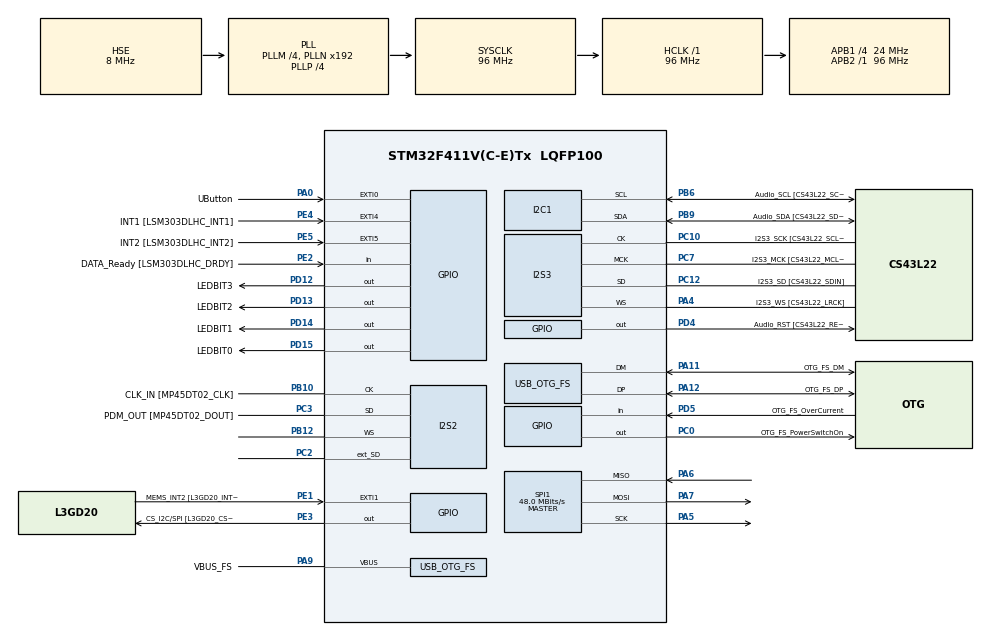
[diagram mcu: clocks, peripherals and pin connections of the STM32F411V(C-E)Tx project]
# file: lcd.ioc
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I2S2.AudioFreq=I2S_AUDIOFREQ_96K
I2S2.ErrorAudioFreq=0.15 %
I2S2.FullDuplexMode=I2S_FULLDUPLEXMODE_ENABLE
I2S2.Instance=SPI$Index
I2S2.RealAudioFreq=96.153 KHz
I2S2.VirtualMode=I2S_MODE_MASTER
I2S3.AudioFreq=I2S_AUDIOFREQ_96K
I2S3.ErrorAudioFreq=-6.99 %
I2S3.FullDuplexMode=I2S_FULLDUPLEXMODE_DISABLE
I2S3.Instance=SPI$Index
I2S3.RealAudioFreq=89.285 KHz
I2S3.VirtualMode=I2S_MODE_MASTER
Mcu.Family=STM32F4
Mcu.Name=STM32F411V(C-E)Tx
Mcu.Package=LQFP100
NVIC.EXTI0_IRQn=true\:0\:0\:false\:false\:true\:true\:true\:true
NVIC.OTG_FS_IRQn=true\:0\:0\:false\:false\:true\:true\:true\:true
NVIC.PriorityGroup=NVIC_PRIORITYGROUP_0
PA0-WKUP.GPIO_Label=UButton
PA0-WKUP.Signal=GPXTI0
PA10.GPIO_Label=OTG_FS_ID
PA10.Signal=USB_OTG_FS_ID
PA11.GPIO_Label=OTG_FS_DM
PA11.Mode=Host_Only
PA11.Signal=USB_OTG_FS_DM
PA12.GPIO_Label=OTG_FS_DP
PA12.Mode=Host_Only
PA12.Signal=USB_OTG_FS_DP
PA13.GPIO_Label=SWDIO
PA13.Mode=Serial_Wire
PA13.Signal=SYS_JTMS-SWDIO
PA14.GPIO_Label=SWCLK
PA14.Mode=Serial_Wire
PA14.Signal=SYS_JTCK-SWCLK
PA4.GPIO_Label=I2S3_WS [CS43L22_LRCK]
PA4.GPIO_Mode=GPIO_MODE_AF_PP
PA4.GPIO_PuPd=GPIO_NOPULL
PA4.GPIO_Speed=GPIO_SPEED_FREQ_LOW
PA4.Mode=Half_Duplex_Master
PA4.Signal=I2S3_WS
PA5.GPIO_Mode=GPIO_MODE_AF_PP
PA5.GPIO_PuPd=GPIO_NOPULL
PA5.GPIO_Speed=GPIO_SPEED_FREQ_VERY_HIGH
PA5.Mode=Full_Duplex_Master
PA5.Signal=SPI1_SCK
PA6.GPIO_Mode=GPIO_MODE_AF_PP
PA6.GPIO_PuPd=GPIO_NOPULL
PA6.GPIO_Speed=GPIO_SPEED_FREQ_VERY_HIGH
PA6.Mode=Full_Duplex_Master
PA6.Signal=SPI1_MISO
PA7.GPIO_Mode=GPIO_MODE_AF_PP
PA7.GPIO_PuPd=GPIO_NOPULL
PA7.GPIO_Speed=GPIO_SPEED_FREQ_VERY_HIGH
PA7.Mode=Full_Duplex_Master
PA7.Signal=SPI1_MOSI
PA9.GPIO_Label=VBUS_FS
PA9.Mode=Activate_VBUS
PA9.Signal=USB_OTG_FS_VBUS
PB10.GPIO_Label=CLK_IN [MP45DT02_CLK]
PB10.Mode=Full_Duplex_Master
PB10.Signal=I2S2_CK
PB12.Mode=Full_Duplex_Master
PB12.Signal=I2S2_WS
PB3.GPIO_Label=SWO
PB3.Signal=SYS_JTDO-SWO
PB6.GPIO_Label=Audio_SCL [CS43L22_SCL]
PB6.GPIO_Mode=GPIO_MODE_AF_OD
PB6.GPIO_Pu=GPIO_PULLUP
PB6.GPIO_PuPd=GPIO_NOPULL
PB6.GPIO_Speed=GPIO_SPEED_FREQ_LOW
PB6.Mode=I2C
PB6.Signal=I2C1_SCL
PB9.GPIO_Label=Audio_SDA [CS43L22_SDA]
PB9.GPIO_Mode=GPIO_MODE_AF_OD
PB9.GPIO_Pu=GPIO_PULLUP
PB9.GPIO_PuPd=GPIO_NOPULL
PB9.GPIO_Speed=GPIO_SPEED_FREQ_LOW
PB9.Mode=I2C
PB9.Signal=I2C1_SDA
PC0.GPIO_Label=OTG_FS_PowerSwitchOn
PC0.PinState=GPIO_PIN_SET
PC0.Signal=GPIO_Output
PC10.GPIO_Label=I2S3_SCK [CS43L22_SCLK]
PC10.GPIO_Mode=GPIO_MODE_AF_PP
PC10.GPIO_PuPd=GPIO_NOPULL
PC10.GPIO_Speed=GPIO_SPEED_FREQ_LOW
PC10.Mode=Half_Duplex_Master
PC10.Signal=I2S3_CK
PC12.GPIO_Label=I2S3_SD [CS43L22_SDIN]
PC12.GPIO_Mode=GPIO_MODE_AF_PP
PC12.GPIO_PuPd=GPIO_NOPULL
PC12.GPIO_Speed=GPIO_SPEED_FREQ_LOW
PC12.Mode=Half_Duplex_Master
PC12.Signal=I2S3_SD
PC14-OSC32_IN.GPIO_Label=PC14-OSC32_IN
PC14-OSC32_IN.Signal=RCC_OSC32_IN
PC15-OSC32_OUT.GPIO_Label=PC15-OSC32_OUT
PC15-OSC32_OUT.Signal=RCC_OSC32_OUT
PC2.Mode=Full_Duplex_Master
PC2.Signal=I2S2_ext_SD
PC3.GPIO_Label=PDM_OUT [MP45DT02_DOUT]
PC3.Mode=Full_Duplex_Master
PC3.Signal=I2S2_SD
PC7.GPIO_Label=I2S3_MCK [CS43L22_MCLK]
PC7.GPIO_Mode=GPIO_MODE_AF_PP
PC7.GPIO_PuPd=GPIO_NOPULL
PC7.GPIO_Speed=GPIO_SPEED_FREQ_LOW
PC7.Mode=Master_Clock_Activated
PC7.Signal=I2S3_MCK
PD12.GPIO_Label=LEDBIT3
PD12.GPIO_PuPd=GPIO_NOPULL
PD12.GPIO_Speed=GPIO_SPEED_FREQ_LOW
PD12.Signal=GPIO_Output
PD13.GPIO_Label=LEDBIT2
PD13.GPIO_PuPd=GPIO_NOPULL
PD13.GPIO_Speed=GPIO_SPEED_FREQ_LOW
PD13.Signal=GPIO_Output
PD14.GPIO_Label=LEDBIT1
PD14.GPIO_PuPd=GPIO_NOPULL
PD14.GPIO_Speed=GPIO_SPEED_FREQ_LOW
PD14.Signal=GPIO_Output
PD15.GPIO_Label=LEDBIT0
PD15.GPIO_PuPd=GPIO_NOPULL
PD15.GPIO_Speed=GPIO_SPEED_FREQ_LOW
PD15.Signal=GPIO_Output
PD4.GPIO_Label=Audio_RST [CS43L22_RESET]
PD4.Signal=GPIO_Output
PD5.GPIO_Label=OTG_FS_OverCurrent
PD5.Signal=GPIO_Input
PE1.GPIO_Label=MEMS_INT2 [L3GD20_INT2]
PE1.GPIO_ModeDefaultEXTI=GPIO_MODE_EVT_RISING
PE1.Signal=GPXTI1
PE2.GPIO_Label=DATA_Ready [LSM303DLHC_DRDY]
PE2.Signal=GPIO_Input
PE3.GPIO_Label=CS_I2C/SPI [L3GD20_CS_I2C/SPI]
PE3.Signal=GPIO_Output
PE4.GPIO_Label=INT1 [LSM303DLHC_INT1]
PE4.GPIO_ModeDefaultEXTI=GPIO_MODE_EVT_RISING
PE4.Signal=GPXTI4
PE5.GPIO_Label=INT2 [LSM303DLHC_INT2]
PE5.GPIO_ModeDefaultEXTI=GPIO_MODE_EVT_RISING
PE5.Signal=GPXTI5
PH0\ -\ OSC_IN.GPIO_Label=PH0-OSC_IN
PH0\ -\ OSC_IN.Mode=HSE-External-Oscillator
PH0\ -\ OSC_IN.Signal=RCC_OSC_IN
PH1\ -\ OSC_OUT.GPIO_Label=PH1-OSC_OUT
PH1\ -\ OSC_OUT.Mode=HSE-External-Oscillator
PH1\ -\ OSC_OUT.Signal=RCC_OSC_OUT
ProjectManager.HeapSize=0x200
ProjectManager.StackSize=0x400
ProjectManager.TargetToolchain=STM32CubeIDE
RCC.48MHZClocksFreq_Value=48000000
RCC.AHBFreq_Value=96000000
RCC.APB1CLKDivider=RCC_HCLK_DIV4
RCC.APB1Freq_Value=24000000
RCC.APB1TimFreq_Value=48000000
RCC.APB2Freq_Value=96000000
RCC.APB2TimFreq_Value=96000000
RCC.CortexFreq_Value=96000000
RCC.HCLKFreq_Value=96000000
RCC.HSE_VALUE=8000000
RCC.HSI_VALUE=16000000
RCC.LSE_VALUE=32768
RCC.PLLI2SM=5
RCC.PLLI2SN=200
RCC.PLLM=4
RCC.PLLP=RCC_PLLP_DIV4
RCC.PLLQ=8
RCC.SYSCLKFreq_VALUE=96000000
RCC.SYSCLKSource=RCC_SYSCLKSOURCE_PLLCLK
RCC.VCOOutputFreq_Value=384000000
SPI1.CalculateBaudRate=48.0 MBits/s
SPI1.Direction=SPI_DIRECTION_2LINES
SPI1.Mode=SPI_MODE_MASTER
SPI1.VirtualType=VM_MASTER
USB_HOST.BSP.number=1
USB_HOST.USBH_HandleTypeDef=hUsbHostFS
USB_HOST.VirtualModeFS=Cdc
USB_HOST0.BSP.STBoard=false
USB_HOST0.BSP.api=Unknown
USB_HOST0.BSP.instance=PC0
USB_HOST0.BSP.ip=GPIO
USB_HOST0.BSP.mode=Output
USB_HOST0.BSP.name=Drive_VBUS_FS
USB_HOST0.BSP.solution=PC0
USB_OTG_FS.VirtualMode=Host_Only
USB_OTG_FS.phy_itface=HCD_PHY_EMBEDDED
VP_USB_HOST_VS_USB_HOST_CDC_FS.Mode=CDC_FS
board=STM32F411E-DISCO

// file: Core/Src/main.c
/* USER CODE BEGIN Header */
/**
  ******************************************************************************
  * @file           : main.c
  * @brief          : Main program body
  ******************************************************************************
  * @attention
  *
  * Copyright (c) 2023 STMicroelectronics.
  * All rights reserved.
  *
  * This software is licensed under terms that can be found in the LICENSE file
  * in the root directory of this software component.
  * If no LICENSE file comes with this software, it is provided AS-IS.
  *
  ******************************************************************************
  */
/* USER CODE END Header */
#include "main.h"
#include "i2c.h"
#include "i2s.h"
#include "spi.h"
#include "usb_host.h"
#include "gpio.h"

/* USER CODE BEGIN Includes */
#include "stm32f4xx.h"
/* USER CODE END Includes */

/* USER CODE BEGIN PV */
volatile int pressed = 0;
volatile int button_is_pressed = 0;
int LED_BITS[4] = {LEDBIT0_Pin, LEDBIT1_Pin, LEDBIT2_Pin, LEDBIT3_Pin};

/* USER CODE END PV */

void SystemClock_Config(void);
void PeriphCommonClock_Config(void);
void MX_USB_HOST_Process(void);

/* USER CODE BEGIN PFP */

void HAL_GPIO_EXTI_Callback(uint16_t GPIO_Pin) {
	if(GPIO_Pin == UButton_Pin) {
		static uint32_t last_change_tick;
		if(HAL_GetTick() - last_change_tick < 50) {
			return;
		}
		last_change_tick = HAL_GetTick();
		if(button_is_pressed) {
			button_is_pressed = 0;
			++pressed;
		} else {
			button_is_pressed = 1;
		}
	}
}
/* USER CODE END PFP */

int main(void)
{

  /* MCU Configuration--------------------------------------------------------*/

  /* Reset of all peripherals, Initializes the Flash interface and the Systick. */
  HAL_Init();

  /* Configure the system clock */
  SystemClock_Config();

/* Configure the peripherals common clocks */
  PeriphCommonClock_Config();

  /* Initialize all configured peripherals */
  MX_GPIO_Init();
  MX_I2C1_Init();
  MX_I2S2_Init();
  MX_I2S3_Init();
  MX_SPI1_Init();
  MX_USB_HOST_Init();

  /* Infinite loop */
  /* USER CODE BEGIN WHILE */
	  int leds = 0;
	  	  while (1) {
	  		  if(pressed % 2 == 0) {
	  			  leds++;

	  		      leds > 3 ? leds=0 : leds;

	  			  HAL_GPIO_WritePin(GPIOD, LED_BITS[leds], GPIO_PIN_SET);
	  	    	   HAL_Delay(200);
	  	     	  HAL_GPIO_WritePin(GPIOD, LED_BITS[leds], GPIO_PIN_RESET);
	  	     	   HAL_Delay(200);
	  	      }else{
	  	    	  leds--;

	  	    	  leds < 0 ? leds=3 : leds;

	  	    	 HAL_GPIO_WritePin(GPIOD, LED_BITS[leds], GPIO_PIN_SET);
	  	    	  HAL_Delay(200);
	  	         HAL_GPIO_WritePin(GPIOD, LED_BITS[leds], GPIO_PIN_RESET);
	  	          HAL_Delay(200);
	  	      }
	  	  }
    /* USER CODE END WHILE */
    MX_USB_HOST_Process();

}

void SystemClock_Config(void)
{
  RCC_OscInitTypeDef RCC_OscInitStruct = {0};
  RCC_ClkInitTypeDef RCC_ClkInitStruct = {0};

  /** Configure the main internal regulator output voltage
  */
  __HAL_RCC_PWR_CLK_ENABLE();
  __HAL_PWR_VOLTAGESCALING_CONFIG(PWR_REGULATOR_VOLTAGE_SCALE1);

  /** Initializes the RCC Oscillators according to the specified parameters
  * in the RCC_OscInitTypeDef structure.
  */
  RCC_OscInitStruct.OscillatorType = RCC_OSCILLATORTYPE_HSE;
  RCC_OscInitStruct.HSEState = RCC_HSE_ON;
  RCC_OscInitStruct.PLL.PLLState = RCC_PLL_ON;
  RCC_OscInitStruct.PLL.PLLSource = RCC_PLLSOURCE_HSE;
  RCC_OscInitStruct.PLL.PLLM = 4;
  RCC_OscInitStruct.PLL.PLLN = 192;
  RCC_OscInitStruct.PLL.PLLP = RCC_PLLP_DIV4;
  RCC_OscInitStruct.PLL.PLLQ = 8;
  if (HAL_RCC_OscConfig(&RCC_OscInitStruct) != HAL_OK)
  {
    Error_Handler();
  }

  /** Initializes the CPU, AHB and APB buses clocks
  */
  RCC_ClkInitStruct.ClockType = RCC_CLOCKTYPE_HCLK|RCC_CLOCKTYPE_SYSCLK
                              |RCC_CLOCKTYPE_PCLK1|RCC_CLOCKTYPE_PCLK2;
  RCC_ClkInitStruct.SYSCLKSource = RCC_SYSCLKSOURCE_PLLCLK;
  RCC_ClkInitStruct.AHBCLKDivider = RCC_SYSCLK_DIV1;
  RCC_ClkInitStruct.APB1CLKDivider = RCC_HCLK_DIV4;
  RCC_ClkInitStruct.APB2CLKDivider = RCC_HCLK_DIV1;

  if (HAL_RCC_ClockConfig(&RCC_ClkInitStruct, FLASH_LATENCY_3) != HAL_OK)
  {
    Error_Handler();
  }
}

void PeriphCommonClock_Config(void)
{
  RCC_PeriphCLKInitTypeDef PeriphClkInitStruct = {0};

  /** Initializes the peripherals clock
  */
  PeriphClkInitStruct.PeriphClockSelection = RCC_PERIPHCLK_I2S;
  PeriphClkInitStruct.PLLI2S.PLLI2SN = 200;
  PeriphClkInitStruct.PLLI2S.PLLI2SM = 5;
  PeriphClkInitStruct.PLLI2S.PLLI2SR = 2;
  if (HAL_RCCEx_PeriphCLKConfig(&PeriphClkInitStruct) != HAL_OK)
  {
    Error_Handler();
  }
}

void Error_Handler(void)
{
  __disable_irq();
  while (1)
  {
  }
}
